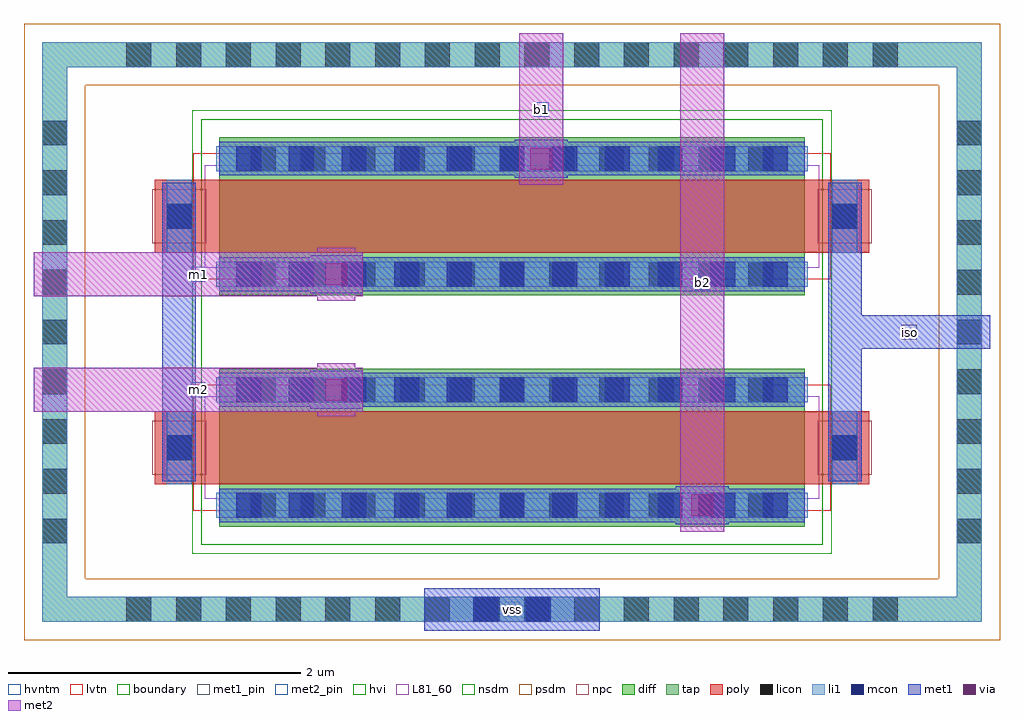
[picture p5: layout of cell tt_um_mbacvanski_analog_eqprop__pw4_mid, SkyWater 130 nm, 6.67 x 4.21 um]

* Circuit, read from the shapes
.subckt tt_um_mbacvanski_analog_eqprop__pw4_mid b1 b2 iso m1 m2 vss
XM1 m2 iso b2 vss sky130_fd_pr__nfet_05v0_nvt w=4 l=0.5
XM2 b1 iso m1 vss sky130_fd_pr__nfet_05v0_nvt w=4 l=0.5
.ends

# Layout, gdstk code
from math import pi, radians
import gdstk
lib = gdstk.Library(unit=1e-6, precision=1e-09)
def R(c, l, rs):  # rectangles x0, y0, x1, y1
    for r in rs: c.add(gdstk.rectangle(r[:2], r[2:], *l))
def A(c, l, x, y, w, h, nx, ny, dx, dy):  # array of equal rectangles
    R(c, l, [(x+i*dx, y+j*dy, x+i*dx+w, y+j*dy+h) for i in range(nx) for j in range(ny)])
diff = (65, 20)
tap = (65, 44)
poly = (66, 20)
licon = (66, 44)
li1 = (67, 20)
mcon = (67, 44)
met1_pin = (68, 16)
met1 = (68, 20)
via = (68, 44)
met2_pin = (69, 16)
met2 = (69, 20)
hvi = (75, 20)
L81_60 = (81, 60)
nsdm = (93, 44)
psdm = (94, 20)
npc = (95, 20)
hvntm = (125, 20)
lvtn = (125, 44)
boundary = (235, 4)

tt_um_mbacvanski_analog_ = lib.new_cell('tt_um_mbacvanski_analog_eqprop__sw4')
R(tt_um_mbacvanski_analog_, diff, [(-0.54,-2,0.54,2)])
R(tt_um_mbacvanski_analog_, poly, [(-0.25,-2.44,0.25,2.44)])
A(tt_um_mbacvanski_analog_, licon, -0.48, -1.785, 0.17, 0.17, 1, 11, 0, 0.34)
A(tt_um_mbacvanski_analog_, licon, 0.31, -1.785, 0.17, 0.17, 1, 11, 0, 0.34)
R(tt_um_mbacvanski_analog_, licon, [(-0.085,-2.36,0.085,-2.19), (-0.085,2.19,0.085,2.36)])
R(tt_um_mbacvanski_analog_, li1, [(-0.25,-2.36,0.25,-2.19), (-0.48,-2.02,-0.31,2.02), (0.31,-2.02,0.48,2.02), (-0.25,2.19,0.25,2.36)])
A(tt_um_mbacvanski_analog_, mcon, -0.48, -1.885, 0.17, 0.17, 1, 11, 0, 0.36)
A(tt_um_mbacvanski_analog_, mcon, 0.31, -1.885, 0.17, 0.17, 1, 11, 0, 0.36)
R(tt_um_mbacvanski_analog_, mcon, [(-0.085,-2.36,0.085,-2.19), (-0.085,2.19,0.085,2.36)])
R(tt_um_mbacvanski_analog_, met1, [(-0.23,-2.39,0.23,-2.16), (-0.51,-2,-0.28,2), (0.28,-2,0.51,2), (-0.23,2.16,0.23,2.39)])
R(tt_um_mbacvanski_analog_, hvi, [(-0.725,-2.185,0.725,2.185)])
R(tt_um_mbacvanski_analog_, L81_60, [(-0.35,-2.1,0.35,2.1)])
R(tt_um_mbacvanski_analog_, nsdm, [(-0.665,-2.125,0.665,2.125)])
R(tt_um_mbacvanski_analog_, npc, [(-0.185,-2.46,0.185,-2.09), (-0.185,2.09,0.185,2.46)])
R(tt_um_mbacvanski_analog_, hvntm, [(-0.725,-2.185,0.725,2.185)])
R(tt_um_mbacvanski_analog_, lvtn, [(-0.43,-2.18,0.43,2.18)])
tt_um_mbacvanski_analog_.add(gdstk.Label('G', (0,2.275), layer=67, texttype=5))
tt_um_mbacvanski_analog_.add(gdstk.Label('S', (0.395,0), layer=67, texttype=5))
tt_um_mbacvanski_analog_.add(gdstk.Label('D', (-0.395,0), layer=67, texttype=5))

c_tt_um_mbacvanski_analog_ = lib.new_cell('tt_um_mbacvanski_analog_eqprop__pw4_mid')
R(c_tt_um_mbacvanski_analog_, tap, [(0,0,6.42,0.17), (0,0.17,0.17,3.79), (6.25,0.17,6.42,3.79), (0,3.79,6.42,3.96)])
A(c_tt_um_mbacvanski_analog_, licon, 0.575, 0, 0.17, 0.17, 16, 2, 0.34, 3.79)
A(c_tt_um_mbacvanski_analog_, licon, 0, 0.535, 0.17, 0.17, 1, 9, 0, 0.34)
A(c_tt_um_mbacvanski_analog_, licon, 6.25, 0.535, 0.17, 0.17, 1, 9, 0, 0.34)
R(c_tt_um_mbacvanski_analog_, li1, [(0,0,6.42,0.17), (0,0.17,0.17,3.79), (6.25,0.17,6.42,3.79), (0,3.79,6.42,3.96)])
R(c_tt_um_mbacvanski_analog_, mcon, [(2.945,0,3.115,0.17), (3.305,0,3.475,0.17)])
R(c_tt_um_mbacvanski_analog_, met1_pin, [(3.16,0.035,3.26,0.135), (5.875,1.93,5.975,2.03)])
R(c_tt_um_mbacvanski_analog_, met1, [(2.61,-0.06,3.81,0.23), (4.33,0.665,4.69,0.925), (0.82,0.96,1.05,3), (5.37,0.96,5.6,1.865), (1.83,1.455,2.19,1.715), (5.37,1.865,6.48,2.095), (5.37,2.095,5.6,3), (1.83,2.245,2.19,2.505), (3.23,3.035,3.59,3.295)])
R(c_tt_um_mbacvanski_analog_, via, [(4.435,0.72,4.585,0.87), (1.935,1.51,2.085,1.66), (1.935,2.3,2.085,2.45), (3.335,3.09,3.485,3.24)])
R(c_tt_um_mbacvanski_analog_, met2_pin, [(1.015,1.535,1.115,1.635), (4.46,2.27,4.56,2.365), (1.015,2.325,1.115,2.425), (3.36,3.45,3.46,3.55)])
R(c_tt_um_mbacvanski_analog_, met2, [(4.36,0.615,4.66,4.02), (1.88,1.405,2.14,1.435), (-0.06,1.435,2.19,1.735), (1.88,1.735,2.14,1.765), (1.88,2.195,2.14,2.225), (-0.06,2.225,2.19,2.525), (1.88,2.525,2.14,2.555), (3.26,2.985,3.56,4.02)])
R(c_tt_um_mbacvanski_analog_, hvi, [(1.025,1.915,5.395,2.045)])
R(c_tt_um_mbacvanski_analog_, nsdm, [(1.085,1.855,5.335,2.105)])
R(c_tt_um_mbacvanski_analog_, psdm, [(-0.125,-0.125,6.545,0.295), (-0.125,0.295,0.295,3.665), (6.125,0.295,6.545,3.665), (-0.125,3.665,6.545,4.085)])
R(c_tt_um_mbacvanski_analog_, hvntm, [(1.025,1.915,5.395,2.045)])
R(c_tt_um_mbacvanski_analog_, boundary, [(0,0,6.42,3.96)])
c_tt_um_mbacvanski_analog_.add(gdstk.Reference(tt_um_mbacvanski_analog_, (3.21,2.77), rotation=3*pi/2))
c_tt_um_mbacvanski_analog_.add(gdstk.Reference(tt_um_mbacvanski_analog_, (3.21,1.19), rotation=3*pi/2))
c_tt_um_mbacvanski_analog_.add(gdstk.Label('vss', (3.21,0.085), layer=68, texttype=5))
c_tt_um_mbacvanski_analog_.add(gdstk.Label('iso', (5.925,1.98), layer=68, texttype=5))
c_tt_um_mbacvanski_analog_.add(gdstk.Label('b2', (4.51,2.317), layer=69, texttype=5))
c_tt_um_mbacvanski_analog_.add(gdstk.Label('b1', (3.41,3.5), layer=69, texttype=5))
c_tt_um_mbacvanski_analog_.add(gdstk.Label('m2', (1.065,1.585), layer=69, texttype=5))
c_tt_um_mbacvanski_analog_.add(gdstk.Label('m1', (1.065,2.375), layer=69, texttype=5))

lib.write_gds('tt_um_mbacvanski_analog_eqprop__pw4_mid.gds')
